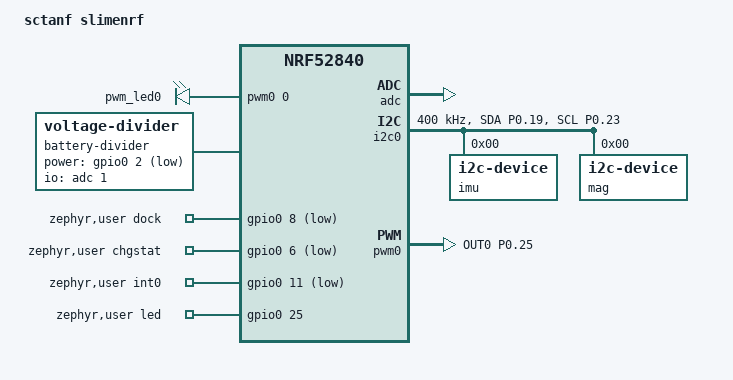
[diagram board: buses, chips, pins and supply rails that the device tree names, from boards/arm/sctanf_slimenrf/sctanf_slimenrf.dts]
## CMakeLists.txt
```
#
# Copyright (c) 2023 Nordic Semiconductor
#
# SPDX-License-Identifier: LicenseRef-Nordic-5-Clause
#
cmake_minimum_required(VERSION 3.20.0)

find_package(Zephyr REQUIRED HINTS $ENV{ZEPHYR_BASE})
project(NONE)

# NORDIC SDK APP START
FILE(GLOB_RECURSE app_sources src/*.c)
target_sources(app PRIVATE ${app_sources})

# NORDIC SDK APP END

FILE(GLOB_RECURSE files Fusion/Fusion/*.c)
target_sources(app PRIVATE ${files})

#FILE(GLOB_RECURSE files NXP-ISSDK-SensorFusion/sources/*.c)
#target_sources(app PRIVATE ${files})

FILE(GLOB_RECURSE files vqf-c/src/*.c)
target_sources(app PRIVATE ${files})

# Force recompile for updated build timestamp
add_custom_target(touch_util_h ALL
    COMMAND ${CMAKE_COMMAND} -E touch ${CMAKE_SOURCE_DIR}/src/build_defines.h
)
```

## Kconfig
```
#
# Copyright (c) 2023 Nordic Semiconductor
#
# SPDX-License-Identifier: LicenseRef-Nordic-5-Clause
#

source "Kconfig.zephyr"

menu "SlimeNRF"

config USE_SLIMENRF_CONSOLE
    bool "Use basic console"
    default y
    depends on USB_DEVICE_STACK
    help
        Use basic console for commands.

choice
	prompt "System retention"
	depends on SOC_COMPATIBLE_NRF52X && CRC || RETAINED_MEM
    help
      Select the system retention method.
      Flash-backed data and fusion state is stored to reduce boot time.

config APP_USE_NRF_RETENTION
	bool "Use state retention in system off using nRF POWER"
	depends on SOC_COMPATIBLE_NRF52X && CRC
	help
	  On some Nordic chips this application supports retaining
	  memory while in system off using POWER peripheral.
	  Select this to enable the feature.

config APP_USE_RETAINED_MEM
	bool "Use state retention in system off using retained_mem driver"
	depends on RETAINED_MEM

endchoice

choice
	prompt "Battery voltage mapping"
    default BATTERY_NO_MAPPING

config BATTERY_USE_REG_BUCK_MAPPING
    bool "Use buck regulator mapping (3.7V battery, DCDC)"
    help
      Use a constant power mapping for battery voltage.
      Preffered for systems with a buck regulator.
      Measured at a system voltage of 3.0V.

config BATTERY_USE_REG_LDO_MAPPING
    bool "Use LDO linear regulator mapping (3.7V battery, LDO)"
    help
      Use a constant current mapping for battery voltage.
      Preferred for systems with a linear regulator.

config BATTERY_NO_MAPPING
    bool "Disable battery voltage mapping"
    help
      Always map to 100% battery. Disables battery monitoring.

endchoice

config IGNORE_RESET
    bool "Ignore reset"
    default y
    help
        If sw0 is available, don't change any reset behavior.

config USER_SHUTDOWN
    bool "User shutdown support"
    default y
    help
        Allow user to use reset or sw0 to shutdown.

config USE_IMU_WAKE_UP
    bool "IMU wake up support"
    default y
    help
        Use IMU wake up state if IMU wake up is present.

config DELAY_SLEEP_ON_STATUS
    bool "Delay IMU wake up mode on status flags"
    default y
    depends on USE_IMU_WAKE_UP
    help
        Delay IMU wake up state if there is an active status flag or in pairing mode.

config WOM_USE_DCDC
    bool "Use DCDC in IMU wake up mode"
    depends on USE_IMU_WAKE_UP
    help
        Use DCDC instead of LDO in IMU wake up state if it is more efficient.

config SENSOR_GYRO_ODR
    int "Gyrometer output data rate (Hz)"
    default 800
    help
        Requested gyrometer output data rate. Actual rate will be raised to the nearest supported rate.
        A higher rate will increase the time to read and process sensor data.
        400Hz is recommended for IMUs with poor gyrometer rate noise density. (Ex. BMI270, LSM6DS3TR-C)

config SENSOR_GYRO_FS
    int "Gyrometer full scale (dps)"
    default 2000
    help
        Requested gyrometer full scale. Actual scale will be raised to the nearest supported scale.
        A lower scale may improve noise performance, but is more likely to saturate.

config SENSOR_ACCEL_FS
    int "Accelerometer full scale (g)"
    default 16
    help
        Requested accelerometer full scale. Actual scale will be raised to the nearest supported scale.
        A lower scale may improve noise performance, but is more likely to saturate.

config SENSOR_USE_MAG
    bool "Magnetometer support"
    default y
    help
        Use magnetometer if it is present.

config USE_SENSOR_CLOCK
    bool "Use external IMU clock"
    default y
    help
        Use external IMU clock if it is present.

choice
	prompt "Sensor fusion"
    default SENSOR_USE_VQF
    help
        Select the sensor fusion method.

config SENSOR_USE_XIOFUSION
    bool "Use x-io Technologies Fusion"
    help
        Use x-io Technologies Fusion for sensor fusion.
        Based on Madgwick filter.

config SENSOR_USE_VQF
    bool "Use VQF"
    depends on CPU_HAS_FPU
    help
        Use VQF for sensor fusion.
        Based on Kalman filter.

endchoice

config SENSOR_USE_6_SIDE_CALIBRATION
    bool "Use 6-side calibration"
    default y
    depends on USE_SLIMENRF_CONSOLE
    help
        Use 6-side calibration for accelerometer.
        Calibration can be completed through the basic console.

config RADIO_TX_POWER
    int "Radio output power (dBm)"
    default 8
    help
        Radio output power level.
        A lower value may reduce power consumption.

endmenu
```

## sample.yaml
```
tests:
  common:
    platform_allow:
      - nrf52840dk/nrf52840
      - xiao_ble/nrf52840
      - xiao_ble/nrf52840/sense
    sysbuild: true
```

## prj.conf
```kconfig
CONFIG_NCS_SAMPLES_DEFAULTS=y

CONFIG_ESB=y

CONFIG_ADC=y
CONFIG_ADC_NRFX_SAADC=y
CONFIG_FPU=y
CONFIG_I2C=y
CONFIG_PINCTRL=y

CONFIG_NVS=y

CONFIG_POWEROFF=y

CONFIG_FLASH=y
CONFIG_FLASH_PAGE_LAYOUT=y
CONFIG_FLASH_MAP=y

CONFIG_SETTINGS=y
CONFIG_SETTINGS_NVS=y
CONFIG_SETTINGS_RUNTIME=y

CONFIG_MPU_ALLOW_FLASH_WRITE=y

CONFIG_CONSOLE=y
CONFIG_USE_SEGGER_RTT=y
CONFIG_RTT_CONSOLE=y
CONFIG_LOG=y
CONFIG_LOG_MODE_DEFERRED=y
CONFIG_LOG_SPEED=y
#CONFIG_LOG_MODE_IMMEDIATE=y
CONFIG_LOG_BACKEND_RTT=y
CONFIG_CBPRINTF_FP_SUPPORT=y
CONFIG_ADC_LOG_LEVEL_OFF=y
CONFIG_LOG_FUNC_NAME_PREFIX_ERR=y
#CONFIG_LOG_BUFFER_SIZE=2048
# do not interfere with startup
#CONFIG_LOG_PROCESS_THREAD_STARTUP_DELAY_MS=100
CONFIG_LOG_PROCESS_THREAD_SLEEP_MS=100

CONFIG_PWM=y
CONFIG_GPIO=y

#CONFIG_CPLUSPLUS=y
#CONFIG_CPP_MAIN=y

CONFIG_CRC=y

CONFIG_NVS_LOOKUP_CACHE=y

CONFIG_NEWLIB_LIBC=y
CONFIG_NRFX_TIMER1=y

#speed up boot? (use internal rc oscillator)
#CONFIG_CLOCK_CONTROL_NRF_K32SRC_RC=y
#speed up boot? (synthesize lf clock)
CONFIG_CLOCK_CONTROL_NRF_K32SRC_SYNTH=y

# dont need it
CONFIG_CRYPTO=n

# set timeout for 10ms, may be able to reduce further
CONFIG_I2C_NRFX_TRANSFER_TIMEOUT=10

CONFIG_USB_DEVICE_HID=y
CONFIG_USB_DEVICE_MANUFACTURER="SlimeVR"
CONFIG_USB_DEVICE_VID=0x1209
CONFIG_USB_DEVICE_PID=0x7692
CONFIG_USB_HID_BOOT_PROTOCOL=y
CONFIG_USB_DEVICE_INITIALIZE_AT_BOOT=n
CONFIG_USB_CDC_ACM=y
CONFIG_UART_INTERRUPT_DRIVEN=y 

CONFIG_SERIAL=y
CONFIG_CONSOLE=y
CONFIG_UART_CONSOLE=y
CONFIG_UART_LINE_CTRL=y

CONFIG_LOG=y
CONFIG_USB_DRIVER_LOG_LEVEL_ERR=y
CONFIG_USB_DEVICE_LOG_LEVEL_ERR=y
CONFIG_USB_CDC_ACM_LOG_LEVEL_OFF=y

CONFIG_LOG_BACKEND_UART=y
CONFIG_LOG_MODE_DEFERRED=y
#CONFIG_LOG_MODE_IMMEDIATE=y

CONFIG_CONSOLE_SUBSYS=y
CONFIG_CONSOLE_GETLINE=y

CONFIG_NVS_LOG_LEVEL_WRN=y
CONFIG_USB_HID_LOG_LEVEL_ERR=y

CONFIG_SYSTEM_WORKQUEUE_STACK_SIZE=256
CONFIG_MAIN_STACK_SIZE=512
```

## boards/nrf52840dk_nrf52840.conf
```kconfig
CONFIG_USB_DEVICE_STACK=y
CONFIG_USB_DEVICE_MANUFACTURER="Nordic Semiconductor"
CONFIG_USB_DEVICE_PRODUCT="SlimeNRF Tracker nRF52840 DK"
```

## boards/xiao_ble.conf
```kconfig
CONFIG_USB_DEVICE_STACK=y
CONFIG_USB_DEVICE_PRODUCT="SlimeNRF Tracker Xiao"

CONFIG_BATTERY_USE_REG_LDO_MAPPING=y
```

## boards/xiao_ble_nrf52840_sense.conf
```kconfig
CONFIG_USB_DEVICE_STACK=y
CONFIG_USB_DEVICE_PRODUCT="SlimeNRF Tracker XIAO Sense"

CONFIG_BATTERY_USE_REG_LDO_MAPPING=y
```

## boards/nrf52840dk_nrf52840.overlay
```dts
/ {
	chosen {
		zephyr,console = &cdc_acm_uart0;
		zephyr,shell-uart = &cdc_acm_uart0;
	};

	battery-divider {
		compatible = "voltage-divider";
		status = "okay";
		io-channels = <&adc 12>; // Measure VDDHDIV5
		output-ohms = <1>;
		full-ohms = <2>;
	};
};

&i2c0 {
	compatible = "nordic,nrf-twim";
	zephyr,concat-buf-size = <255>; // probable max for nrf52832
	zephyr,flash-buf-max-size = <255>; // probable max for nrf52832
	clock-frequency = <I2C_BITRATE_FAST>;

	imu: imu@0 { // any address out of range (00, 7f, etc. will search all addresses and stored address first if available, specify an address here to search first otherwise
		compatible = "i2c-device";
		label = "imu";
		reg = <0>;
	};

	mag: mag@0 {
		compatible = "i2c-device";
		label = "mag";
		reg = <0>;
	};

};

zephyr_udc0: &usbd {
	cdc_acm_uart0: cdc_acm_uart0 {
		compatible = "zephyr,cdc-acm-uart";
	};
};
```

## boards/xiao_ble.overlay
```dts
/ {
	pwmleds {
		compatible = "pwm-leds";
		pwm_led0: pwm_led_0 {
			pwms = <&pwm0 0 PWM_MSEC(1) PWM_POLARITY_INVERTED>;
		};
	};

	// Uncomment below to Enable SW0
	buttons {
		compatible = "gpio-keys";
		button0: button_0 {
			gpios = <&gpio0 2 (GPIO_PULL_UP | GPIO_ACTIVE_LOW)>;
			label = "Push button switch 0";
		};
	};

	aliases {
		sw0 = &button0;
	};

	pwmclock: pwmclock {
		compatible = "pwm-clock";
		#clock-cells = <1>;
		pwms = <&pwm1 0 PWM_HZ(32768) PWM_POLARITY_NORMAL>;
	};

	battery-divider {
        compatible = "voltage-divider";
        status = "okay";
        io-channels = <&adc 7>;
        output-ohms = <510000>;
        full-ohms = <(1000000+510000)>;
        power-gpios = <&gpio0 14 (GPIO_OPEN_DRAIN|GPIO_ACTIVE_LOW)>;
	};
};

&i2c1 {
	compatible = "nordic,nrf-twim";
	zephyr,concat-buf-size = <255>; // probable max for nrf52832
	zephyr,flash-buf-max-size = <255>; // probable max for nrf52832
	clock-frequency = <I2C_BITRATE_FAST>;

	imu: imu@0 { // any address out of range (00, 7f, etc. will search all addresses and stored address first if available, specify an address here to search first otherwise
		compatible = "i2c-device";
		label = "imu";
		reg = <0>;
	};

	mag: mag@0 {
		compatible = "i2c-device";
		label = "mag";
		reg = <0>;
	};

};

&pwm1 {
	status = "okay";
	pinctrl-0 = <&pwm1_default>;
	pinctrl-1 = <&pwm1_sleep>;
	pinctrl-names = "default", "sleep";
};

&cryptocell {
	status = "disabled";
};

&nfct {
	status = "disabled";
};
```

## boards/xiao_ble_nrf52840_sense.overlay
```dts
/ {
	pwmleds {
		compatible = "pwm-leds";
		pwm_led0: pwm_led_0 {
			pwms = <&pwm0 0 PWM_MSEC(1) PWM_POLARITY_INVERTED>;
		};
	};

	lsm6ds3tr-c-en {
		startup-delay-us = <0>;
	};

	// Uncomment below to Enable SW0
	buttons {
		compatible = "gpio-keys";
		button0: button_0 {
			gpios = <&gpio0 2 (GPIO_PULL_UP | GPIO_ACTIVE_LOW)>;
			label = "Push button switch 0";
		};
	};

	aliases {
		sw0 = &button0;
	};

	battery-divider {
        compatible = "voltage-divider";
        status = "okay";
        io-channels = <&adc 7>;
        output-ohms = <510000>;
        full-ohms = <(1000000+510000)>;
        power-gpios = <&gpio0 14 (GPIO_OPEN_DRAIN|GPIO_ACTIVE_LOW)>;
	};

	zephyr,user {
		int0-gpios = <&gpio0 11 (GPIO_ACTIVE_LOW | GPIO_PULL_UP)>;
		led-gpios = <&gpio0 17 (GPIO_OPEN_DRAIN|GPIO_ACTIVE_LOW)>;
	};

};

&i2c0 {
	compatible = "nordic,nrf-twim";
	zephyr,concat-buf-size = <255>; // probable max for nrf52832
	zephyr,flash-buf-max-size = <255>; // probable max for nrf52832
	clock-frequency = <I2C_BITRATE_FAST>;

	imu: imu@0 { // any address out of range (00, 7f, etc. will search all addresses and stored address first if available, specify an address here to search first otherwise
		compatible = "i2c-device";
		label = "imu";
		reg = <0>;
	};

};

&cryptocell {
	status = "disabled";
};

&nfct {
	status = "disabled";
};
```

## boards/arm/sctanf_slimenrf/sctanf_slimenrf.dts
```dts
// Copyright (c) 2023 Nordic Semiconductor ASA
// SPDX-License-Identifier: Apache-2.0

/dts-v1/;
#include <nordic/nrf52840_qiaa.dtsi>

//move to dtsi?
&pinctrl {
	i2c0_default: i2c0_default {
		group1 {
			psels = <NRF_PSEL(TWIM_SDA, 0, 19)>,
				<NRF_PSEL(TWIM_SCL, 0, 23)>;
			bias-disable;
		};
	};

	i2c0_sleep: i2c0_sleep {
		group1 {
			psels = <NRF_PSEL(TWIM_SDA, 0, 19)>,
				<NRF_PSEL(TWIM_SCL, 0, 23)>;
			bias-disable;
			low-power-enable;
		};
	};

	pwm0_default: pwm0_default {
		group1 {
			psels = <NRF_PSEL(PWM_OUT0, 0, 25)>;
		};
	};

	pwm0_sleep: pwm0_sleep {
		group1 {
			psels = <NRF_PSEL(PWM_OUT0, 0, 25)>;
			low-power-enable;
		};
	};

};
//end

/ {
	model = "sctanf slimenrf";
	compatible = "sctanf,sctanf-slimenrf";

	chosen {
		zephyr,sram = &sram0;
		zephyr,flash = &flash0;
		zephyr,code-partition = &slot0_partition;
	};

	pwmleds {
		compatible = "pwm-leds";
		pwm_led0: pwm_led_0 {
			pwms = <&pwm0 0 PWM_MSEC(20) PWM_POLARITY_NORMAL>;
		};
	};

	battery-divider {
		compatible = "voltage-divider";
		status = "okay";
		io-channels = <&adc 1>;
		output-ohms = <510000>;
		full-ohms = <(1000000+510000)>;
		power-gpios = <&gpio0 2 (GPIO_OPEN_DRAIN|GPIO_ACTIVE_LOW)>;
	};

	zephyr,user {
		dock-gpios = <&gpio0 8 (GPIO_PULL_UP|GPIO_ACTIVE_LOW)>;
		chgstat-gpios = <&gpio0 6 (GPIO_PULL_UP|GPIO_ACTIVE_LOW)>;
		int0-gpios = <&gpio0 11 (GPIO_PULL_UP|GPIO_ACTIVE_LOW)>;
		led-gpios = <&gpio0 25 (GPIO_OPEN_SOURCE | (1 << 9))>;
	};

};

&flash0 {
	partitions {
		compatible = "fixed-partitions";
		#address-cells = <1>;
		#size-cells = <1>;

		boot_partition: partition@0 {
			label = "mcuboot";
			reg = <0x0 0xc000>;
		};
		slot0_partition: partition@c000 {
			label = "image-0";
			reg = <0xc000 0x72000>;
		};
		slot1_partition: partition@7e000 {
			label = "image-1";
			reg = <0x7e000 0x72000>;
		};
		scratch_partition: partition@f0000 {
			label = "image-scratch";
			reg = <0xf0000 0xa000>;
		};
		storage_partition: partition@fa000 {
			label = "storage";
			reg = <0xfa000 0x6000>;
		};
	};
};

&adc {
	status = "okay";
};

&gpiote {
	status = "okay";
};

&gpio0 {
	status = "okay";
};

&gpio1 {
	status = "okay";
};

&i2c0 {
	compatible = "nordic,nrf-twim";
	status = "okay";
	zephyr,concat-buf-size = <255>; // probable max for nrf52832
	zephyr,flash-buf-max-size = <255>; // probable max for nrf52832
	clock-frequency = <I2C_BITRATE_FAST>;
	pinctrl-0 = <&i2c0_default>;
	pinctrl-1 = <&i2c0_sleep>;
	pinctrl-names = "default", "sleep";

	imu: imu@0 { // any address out of range (00, 7f, etc. will search all addresses and stored address first if available, specify an address here to search first otherwise
		compatible = "i2c-device";
		label = "imu";
		reg = <0>;
	};

	mag: mag@0 {
		compatible = "i2c-device";
		label = "mag";
		reg = <0>;
	};

};

&pwm0 {
	status = "okay";
	pinctrl-0 = <&pwm0_default>;
	pinctrl-1 = <&pwm0_sleep>;
	pinctrl-names = "default", "sleep";
};

zephyr_udc0: &usbd {
	compatible = "nordic,nrf-usbd";
	status = "disabled";
	cdc_acm_uart0: cdc_acm_uart0 {
		compatible = "zephyr,cdc-acm-uart";
	};
};

&cryptocell {
	status = "disabled";
};

&nfct {
	status = "disabled";
};
```

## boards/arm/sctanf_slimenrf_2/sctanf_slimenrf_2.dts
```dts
// Copyright (c) 2023 Nordic Semiconductor ASA
// SPDX-License-Identifier: Apache-2.0

/dts-v1/;
#include <nordic/nrf52832_ciaa.dtsi>

//move to dtsi?
&pinctrl {
	i2c0_default: i2c0_default {
		group1 {
			psels = <NRF_PSEL(TWIM_SDA, 0, 19)>,
				<NRF_PSEL(TWIM_SCL, 0, 23)>;
			bias-disable;
		};
	};

	i2c0_sleep: i2c0_sleep {
		group1 {
			psels = <NRF_PSEL(TWIM_SDA, 0, 19)>,
				<NRF_PSEL(TWIM_SCL, 0, 23)>;
			bias-disable;
			low-power-enable;
		};
	};

	pwm0_default: pwm0_default {
		group1 {
			psels = <NRF_PSEL(PWM_OUT0, 0, 25)>;
			nordic,invert;
		};
	};

	pwm0_sleep: pwm0_sleep {
		group1 {
			psels = <NRF_PSEL(PWM_OUT0, 0, 25)>;
			low-power-enable;
		};
	};

};
//end

/ {
	model = "sctanf slimenrf 2";
	compatible = "sctanf-slimenrf-2";

	chosen {
		zephyr,sram = &sram0;
		zephyr,flash = &flash0;
		zephyr,code-partition = &slot0_partition;
	};

	pwmleds {
		compatible = "pwm-leds";
		pwm_led0: pwm_led_0 {
			pwms = <&pwm0 0 PWM_MSEC(20) PWM_POLARITY_INVERTED>;
		};
	};

	battery-divider {
		compatible = "voltage-divider";
		status = "okay";
		io-channels = <&adc 1>;
		output-ohms = <510000>;
		full-ohms = <(1000000+510000)>;
		power-gpios = <&gpio0 2 (GPIO_OPEN_DRAIN|GPIO_ACTIVE_LOW)>;
	};

	zephyr,user {
		dock-gpios = <&gpio0 8 (GPIO_PULL_UP|GPIO_ACTIVE_LOW)>;
		chgstat-gpios = <&gpio0 6 (GPIO_PULL_UP|GPIO_ACTIVE_LOW)>;
		int0-gpios = <&gpio0 11 (GPIO_PULL_UP|GPIO_ACTIVE_LOW)>;
		led-gpios = <&gpio0 25 (GPIO_OPEN_DRAIN|GPIO_ACTIVE_LOW)>;
	};

};

&flash0 {
	partitions {
		compatible = "fixed-partitions";
		#address-cells = <1>;
		#size-cells = <1>;

		boot_partition: partition@0 {
			label = "mcuboot";
			reg = <0x0 0xc000>;
		};
		slot0_partition: partition@c000 {
			label = "image-0";
			reg = <0xc000 0x32000>;
		};
		slot1_partition: partition@3e000 {
			label = "image-1";
			reg = <0x3e000 0x32000>;
		};
		scratch_partition: partition@70000 {
			label = "image-scratch";
			reg = <0x70000 0xa000>;
		};
		storage_partition: partition@7a000 {
			label = "storage";
			reg = <0x7a000 0x6000>;
		};
	};
};

&adc {
	status = "okay";
};

&gpiote {
	status = "okay";
};

&gpio0 {
	status = "okay";
};

&i2c0 {
	compatible = "nordic,nrf-twim";
	status = "okay";
	zephyr,concat-buf-size = <255>; // probable max for nrf52832
	zephyr,flash-buf-max-size = <255>; // probable max for nrf52832
	clock-frequency = <I2C_BITRATE_FAST>;
	pinctrl-0 = <&i2c0_default>;
	pinctrl-1 = <&i2c0_sleep>;
	pinctrl-names = "default", "sleep";

	imu: imu@0 { // any address out of range (00, 7f, etc. will search all addresses and stored address first if available, specify an address here to search first otherwise
		compatible = "i2c-device";
		label = "imu";
		reg = <0>;
	};

	mag: mag@0 {
		compatible = "i2c-device";
		label = "mag";
		reg = <0>;
	};

};

&pwm0 {
	status = "okay";
	pinctrl-0 = <&pwm0_default>;
	pinctrl-1 = <&pwm0_sleep>;
	pinctrl-names = "default", "sleep";
};

&nfct {
	status = "disabled";
};
```

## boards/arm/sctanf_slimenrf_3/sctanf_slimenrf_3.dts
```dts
// Copyright (c) 2023 Nordic Semiconductor ASA
// SPDX-License-Identifier: Apache-2.0

/dts-v1/;
#include <nordic/nrf52811_qfaa.dtsi>

//move to dtsi?
&pinctrl {
	i2c0_default: i2c0_default {
		group1 {
			psels = <NRF_PSEL(TWIM_SDA, 0, 19)>,
				<NRF_PSEL(TWIM_SCL, 0, 23)>;
		};
	};

	i2c0_sleep: i2c0_sleep {
		group1 {
			psels = <NRF_PSEL(TWIM_SDA, 0, 19)>,
				<NRF_PSEL(TWIM_SCL, 0, 23)>;
			low-power-enable;
		};
	};

//	pwm0_default: pwm0_default {
//		group1 {
//			psels = <NRF_PSEL(PWM_OUT0, 0, 25)>;
//			nordic,invert;
//		};
//	};
//
//	pwm0_sleep: pwm0_sleep {
//		group1 {
//			psels = <NRF_PSEL(PWM_OUT0, 0, 25)>;
//			low-power-enable;
//		};
//	};

};
//end

/ {
	model = "sctanf slimenrf 3";
	compatible = "sctanf-slimenrf-3";

	chosen {
		zephyr,sram = &sram0;
		zephyr,flash = &flash0;
		zephyr,code-partition = &slot0_partition;
	};

//	pwmleds {
//		compatible = "pwm-leds";
//		pwm_led0: pwm_led_0 {
//			pwms = <&pwm0 0 PWM_MSEC(20) PWM_POLARITY_NORMAL>;
//		};
//	};

	battery-divider {
		compatible = "voltage-divider";
		status = "okay";
		io-channels = <&adc 1>;
		output-ohms = <510000>;
		full-ohms = <(1000000+510000)>;
		power-gpios = <&gpio0 2 (GPIO_OPEN_DRAIN|GPIO_ACTIVE_LOW)>;
	};

	zephyr,user {
		dock-gpios = <&gpio0 8 (GPIO_PULL_UP|GPIO_ACTIVE_LOW)>;
		chgstat-gpios = <&gpio0 6 (GPIO_PULL_UP|GPIO_ACTIVE_LOW)>;
		int0-gpios = <&gpio0 11 (GPIO_PULL_UP|GPIO_ACTIVE_LOW)>;
		int1-gpios = <&gpio0 26 (GPIO_PULL_UP|GPIO_ACTIVE_LOW)>;
		led-gpios = <&gpio0 25 (GPIO_OPEN_SOURCE|GPIO_ACTIVE_HIGH)>;
	};

};

&flash0 {
	partitions {
		compatible = "fixed-partitions";
		#address-cells = <1>;
		#size-cells = <1>;

		boot_partition: partition@0 {
			label = "mcuboot";
			reg = <0x0 0xc000>;
		};
		slot0_partition: partition@c000 {
			label = "image-0";
			reg = <0xc000 0xa000>;
		};
		slot1_partition: partition@16000 {
			label = "image-1";
			reg = <0x16000 0xa000>;
		};
		scratch_partition: partition@20000 {
			label = "image-scratch";
			reg = <0x20000 0xa000>;
		};
		storage_partition: partition@2a000 {
			label = "storage";
			reg = <0x2a000 0x6000>;
		};
	};
};

&adc {
	status = "okay";
};

&gpiote {
	status = "okay";
};

&gpio0 {
	status = "okay";
};

&i2c0 {
	compatible = "nordic,nrf-twim";
	status = "okay";
	clock-frequency = <I2C_BITRATE_FAST>;
	pinctrl-0 = <&i2c0_default>;
	pinctrl-1 = <&i2c0_sleep>;
	pinctrl-names = "default", "sleep";

	icm_0: icm42688@68 {
		compatible = "i2c-device";
		label = "main-imu";
		reg = <0x68>;
	};

	mmc_0: mmc5983ma@30 {
		compatible = "i2c-device";
		label = "main-mag";
		reg = <0x30>;
	};

};

//&pwm0 {
//	status = "okay";
//	pinctrl-0 = <&pwm0_default>;
//	pinctrl-1 = <&pwm0_sleep>;
//	pinctrl-names = "default", "sleep";
//};
```

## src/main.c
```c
#include "globals.h"
#include "system.h"
//#include "timer.h"
#include "esb.h"
#include "sensor.h"

#include <zephyr/sys/reboot.h>

#define DFU_DBL_RESET_MEM 0x20007F7C
#define DFU_DBL_RESET_APP 0x4ee5677e

uint32_t* dbl_reset_mem = ((uint32_t*) DFU_DBL_RESET_MEM);

LOG_MODULE_REGISTER(main, LOG_LEVEL_INF);

#if DT_NODE_HAS_PROP(DT_ALIAS(sw0), gpios)
#define BUTTON_EXISTS true
#endif

#define DFU_EXISTS CONFIG_BUILD_OUTPUT_UF2 || CONFIG_BOARD_HAS_NRF5_BOOTLOADER
#define ADAFRUIT_BOOTLOADER CONFIG_BUILD_OUTPUT_UF2

int main(void)
{
#if IGNORE_RESET && BUTTON_EXISTS
	bool reset_pin_reset = false;
#else
	bool reset_pin_reset = NRF_POWER->RESETREAS & 0x01;
#endif
	NRF_POWER->RESETREAS = NRF_POWER->RESETREAS; // Clear RESETREAS

//	start_time = k_uptime_get(); // Need to get start time for imu startup delay
	set_led(SYS_LED_PATTERN_ON, SYS_LED_PRIORITY_BOOT); // Boot LED

#if ADAFRUIT_BOOTLOADER && !(IGNORE_RESET && BUTTON_EXISTS) // Using Adafruit bootloader
	(*dbl_reset_mem) = DFU_DBL_RESET_APP; // Skip DFU
	ram_range_retain(dbl_reset_mem, sizeof(dbl_reset_mem), true);
#endif

	uint8_t reboot_counter = reboot_counter_read();
	bool booting_from_shutdown = !reboot_counter && (reset_pin_reset || button_read()); // 0 means from user shutdown or failed ram validation

	if (booting_from_shutdown)
		set_led(SYS_LED_PATTERN_ONESHOT_POWERON, SYS_LED_PRIORITY_BOOT);

	bool docked = dock_read();

	uint8_t reset_mode = -1;

	if (reboot_counter == 0)
		reboot_counter = 100;
	else if (reboot_counter > 200)
		reboot_counter = 200; // How did you get here
	reset_mode = reboot_counter - 100;
	if ((reset_pin_reset || button_read()) && !docked) // Count pin resets while not docked
	{
		reboot_counter++;
		reboot_counter_write(reboot_counter);
		LOG_INF("Reset count: %u", reboot_counter);
		k_msleep(1000); // Wait before clearing counter and continuing
	}
	reboot_counter_write(100);
	if (!reset_pin_reset && !button_read() && reset_mode == 0) // Only need to check once, if the button is pressed again an interrupt is triggered from before
		reset_mode = -1; // Cancel reset_mode (shutdown)

#if USER_SHUTDOWN_ENABLED
	bool charging = chg_read();
	bool charged = stby_read();
	bool plugged = vin_read();

	if (reset_mode == 0 && !booting_from_shutdown && !charging && !charged && !plugged) // Reset mode user shutdown, only if unplugged and undocked
		sys_user_shutdown();
#endif

	if (!booting_from_shutdown) // ONESHOT_POWERON automatically sets LED off
		set_led(SYS_LED_PATTERN_OFF, SYS_LED_PRIORITY_BOOT);

	sys_reset_mode(reset_mode);

	k_msleep(1); // TODO: fixes some weird issue with the device bootlooping, what is the cause

	clocks_start();

	esb_pair();

	esb_initialize(true);
	//timer_init();
// 1ms to start ESB

	return 0;
}
```

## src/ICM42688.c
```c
/* 01/14/2022 Copyright Tlera Corporation

    Created by Kris Winer

  This sketch uses SDA/SCL on pins 21/20 (Ladybug default), respectively, and it uses the Ladybug STM32L432 Breakout Board.
  The ICM42688 is a combo sensor with embedded accel and gyro, here used as 6 DoF in a 9 DoF absolute orientation solution.

  Library may be used freely and without limit with attribution.

*/
#include <math.h>
#include <stdio.h>
#include <stdlib.h>

#include <zephyr/types.h>
#include <zephyr/drivers/i2c.h>
#include "ICM42688.h"

float _gRes;

uint8_t icm_getChipID(struct i2c_dt_spec dev_i2c)
{
    uint8_t temp;
    i2c_reg_read_byte_dt(&dev_i2c, ICM42688_WHO_AM_I, &temp);
    return temp;
}

float icm_getAres(uint8_t Ascale) {
    switch (Ascale)
    {
        // Possible accelerometer scales (and their register bit settings) are:
        case AFS_2G:
            return 2.0f/32768.0f;
        case AFS_4G:
            return 4.0f/32768.0f;
        case AFS_8G:
            return 8.0f/32768.0f;
        case AFS_16G:
        default:// I assume this is a safe default given the comment
            return 16.0f/32768.0f;
    }
}

float icm_getGres(uint8_t Gscale) {
    switch (Gscale)
    {
        // Possible gyro scales (and their register bit settings) are:
        case GFS_15_625DPS:
            return 15.625f/32768.0f;
        case GFS_31_25DPS:
            return 31.25f/32768.0f;
        case GFS_62_50DPS:
            return 62.5f/32768.0f;
        case GFS_125DPS:
            return 125.0f/32768.0f;
        case GFS_250DPS:
            return 250.0f/32768.0f;
        case GFS_500DPS:
            return 500.0f/32768.0f;
        case GFS_1000DPS:
            return 1000.0f/32768.0f;
        case GFS_2000DPS:
        default: // I assume this is a safe default given the comment
            return 2000.0f/32768.0f;
    }
}

void icm_reset(struct i2c_dt_spec dev_i2c)
{
    // reset device
    i2c_reg_write_byte_dt(&dev_i2c, ICM42688_DEVICE_CONFIG, 0x01); // Set bit 0 to 1 to reset ICM42688
    k_msleep(2); // Wait 1 ms for all registers to reset
}

void icm_setup_WOM(struct i2c_dt_spec dev_i2c)
{
    uint8_t temp;
    i2c_reg_read_byte_dt(&dev_i2c, ICM42688_INT_STATUS, &temp); // clear reset done int flag
	i2c_reg_write_byte_dt(&dev_i2c, ICM42688_INT_SOURCE0, 0x00); // temporary disable interrupts
	i2c_reg_write_byte_dt(&dev_i2c, ICM42688_ACCEL_CONFIG0, AFS_8G << 5 | AODR_200Hz); // set accel ODR and FS
	i2c_reg_write_byte_dt(&dev_i2c, ICM42688_PWR_MGMT0, aMode_LP); // set accel and gyro modes
	i2c_reg_write_byte_dt(&dev_i2c, ICM42688_INTF_CONFIG1, 0x00); // set low power clock
	k_busy_wait(1000);
	i2c_reg_write_byte_dt(&dev_i2c, ICM42688_REG_BANK_SEL, 0x04); // select register bank 4
	i2c_reg_write_byte_dt(&dev_i2c, ICM42688_ACCEL_WOM_X_THR, 0x08); // set wake thresholds // 80 x 3.9 mg is ~312 mg
	i2c_reg_write_byte_dt(&dev_i2c, ICM42688_ACCEL_WOM_Y_THR, 0x08); // set wake thresholds
	i2c_reg_write_byte_dt(&dev_i2c, ICM42688_ACCEL_WOM_Z_THR, 0x08); // set wake thresholds
	k_busy_wait(1000);
	i2c_reg_write_byte_dt(&dev_i2c, ICM42688_REG_BANK_SEL, 0x00); // select register bank 0
	i2c_reg_write_byte_dt(&dev_i2c, ICM42688_INT_SOURCE1, 0x07); // enable WOM interrupt
	k_busy_wait(50000);
	i2c_reg_write_byte_dt(&dev_i2c, ICM42688_SMD_CONFIG, 0x01); // enable WOM feature
}

// make i2c stuff external? (portability)
// make busy wait and msleep external? (portability)
void icm_init(struct i2c_dt_spec dev_i2c, uint8_t Ascale, uint8_t Gscale, uint8_t AODR, uint8_t GODR, uint8_t aMode, uint8_t gMode, bool CLKIN)
{
    icm_getAres(Ascale);
    icm_getGres(Gscale);
    i2c_reg_write_byte_dt(&dev_i2c, ICM42688_INT_SOURCE0, 0x00); // temporary disable interrupts
    i2c_reg_write_byte_dt(&dev_i2c, ICM42688_REG_BANK_SEL, 0x00); // select register bank 0
    i2c_reg_write_byte_dt(&dev_i2c, ICM42688_PWR_MGMT0, gMode << 2 | aMode); // set accel and gyro modes
    k_busy_wait(250); // wait >200us (datasheet 14.36)
    i2c_reg_write_byte_dt(&dev_i2c, ICM42688_ACCEL_CONFIG0, Ascale << 5 | AODR); // set accel ODR and FS
    i2c_reg_write_byte_dt(&dev_i2c, ICM42688_GYRO_CONFIG0, Gscale << 5 | GODR); // set gyro ODR and FS
    i2c_reg_write_byte_dt(&dev_i2c, ICM42688_GYRO_ACCEL_CONFIG0, 0x44); // set gyro and accel bandwidth to ODR/10
//    k_msleep(50); // 10ms Accel, 30ms Gyro startup
    k_msleep(1); // fuck i dont wanna wait that long
    i2c_reg_write_byte_dt(&dev_i2c, ICM42688_FIFO_CONFIG, 0x00); // FIFO bypass mode
    i2c_reg_write_byte_dt(&dev_i2c, ICM42688_FSYNC_CONFIG, 0x00); // disable FSYNC
    i2c_reg_update_byte_dt(&dev_i2c, ICM42688_TMST_CONFIG, 0x02, 0x00); // disable FSYNC
    i2c_reg_write_byte_dt(&dev_i2c, ICM42688_FIFO_CONFIG1, 0x02); // enable FIFO gyro only
    i2c_reg_write_byte_dt(&dev_i2c, ICM42688_FIFO_CONFIG, 1<<6); // begin FIFO stream
}

void icm_accel_read(struct i2c_dt_spec dev_i2c, float a[3]) {
    uint8_t rawAccel[6];
    i2c_burst_read_dt(&dev_i2c, ICM42688_ACCEL_DATA_X1, &rawAccel[0], 6);
	float raw0 = (int16_t)((((int16_t)rawAccel[0]) << 8) | rawAccel[1]);
	float raw1 = (int16_t)((((int16_t)rawAccel[2]) << 8) | rawAccel[3]);
	float raw2 = (int16_t)((((int16_t)rawAccel[4]) << 8) | rawAccel[5]);
	a[0] = raw0 * _aRes;
	a[1] = raw1 * _aRes;
	a[2] = raw2 * _aRes;
}

void icm_gyro_read(struct i2c_dt_spec dev_i2c, float g[3]) {
    uint8_t rawGyro[6];
    i2c_burst_read_dt(&dev_i2c, ICM42688_GYRO_DATA_X1, &rawGyro[0], 6);
	float raw0 = (int16_t)((((int16_t)rawGyro[0]) << 8) | rawGyro[1]);
	float raw1 = (int16_t)((((int16_t)rawGyro[2]) << 8) | rawGyro[3]);
	float raw2 = (int16_t)((((int16_t)rawGyro[4]) << 8) | rawGyro[5]);
	g[0] = raw0 * _gRes;
	g[1] = raw1 * _gRes;
	g[2] = raw2 * _gRes;
}

// need to make this external
void icm_offsetBias(struct i2c_dt_spec dev_i2c, float * dest1, float * dest2)
{
    float rawData[3];
    for (int ii = 0; ii < 500; ii++)
    {
        icm_accel_read(dev_i2c, &rawData[0]);
        dest1[0] += rawData[0];
        dest1[1] += rawData[1];
        dest1[2] += rawData[2];
        icm_gyro_read(dev_i2c, &rawData[0]);
        dest2[0] += rawData[0];
        dest2[1] += rawData[1];
        dest2[2] += rawData[2];
        k_msleep(5);
    }

    dest1[0] /= 500.0f;
    dest1[1] /= 500.0f;
    dest1[2] /= 500.0f;
    dest2[0] /= 500.0f;
    dest2[1] /= 500.0f;
    dest2[2] /= 500.0f;
// need better accel calibration
    if(dest1[0] > 0.8f) {dest1[0] -= 1.0f;} // Remove gravity from the x-axis accelerometer bias calculation
    if(dest1[0] < -0.8f) {dest1[0] += 1.0f;} // Remove gravity from the x-axis accelerometer bias calculation
    if(dest1[1] > 0.8f) {dest1[1] -= 1.0f;} // Remove gravity from the y-axis accelerometer bias calculation
    if(dest1[1] < -0.8f) {dest1[1] += 1.0f;} // Remove gravity from the y-axis accelerometer bias calculation
    if(dest1[2] > 0.8f) {dest1[2] -= 1.0f;} // Remove gravity from the z-axis accelerometer bias calculation
    if(dest1[2] < -0.8f) {dest1[2] += 1.0f;} // Remove gravity from the z-axis accelerometer bias calculation
}
```

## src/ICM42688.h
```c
/* 01/14/2022 Copyright Tlera Corporation

    Created by Kris Winer

  This sketch uses SDA/SCL on pins 21/20 (ladybug default), respectively, and it uses the Ladybug STM32L432 Breakout Board.
  The ICM42688 is a combo sensor with embedded accel and gyro, here used as 6 DoF in a 9 DoF absolute orientation solution.

  Library may be used freely and without limit with attribution.

*/

#ifndef ICM42688_h
#define ICM42688_h

#include <zephyr/types.h>
#include <zephyr/drivers/i2c.h>

/* ICM42688 registers
https://media.digikey.com/pdf/Data%20Sheets/TDK%20PDFs/ICM-42688-P_DS_Rev1.2.pdf
*/
// User Bank 0
#define ICM42688_DEVICE_CONFIG             0x11
#define ICM42688_DRIVE_CONFIG              0x13
#define ICM42688_INT_CONFIG                0x14
#define ICM42688_FIFO_CONFIG               0x16
#define ICM42688_TEMP_DATA1                0x1D
#define ICM42688_TEMP_DATA0                0x1E
#define ICM42688_ACCEL_DATA_X1             0x1F
#define ICM42688_ACCEL_DATA_X0             0x20
#define ICM42688_ACCEL_DATA_Y1             0x21
#define ICM42688_ACCEL_DATA_Y0             0x22
#define ICM42688_ACCEL_DATA_Z1             0x23
#define ICM42688_ACCEL_DATA_Z0             0x24
#define ICM42688_GYRO_DATA_X1              0x25
#define ICM42688_GYRO_DATA_X0              0x26
#define ICM42688_GYRO_DATA_Y1              0x27
#define ICM42688_GYRO_DATA_Y0              0x28
#define ICM42688_GYRO_DATA_Z1              0x29
#define ICM42688_GYRO_DATA_Z0              0x2A
#define ICM42688_TMST_FSYNCH               0x2B
#define ICM42688_TMST_FSYNCL               0x2C
#define ICM42688_INT_STATUS                0x2D
#define ICM42688_FIFO_COUNTH               0x2E
#define ICM42688_FIFO_COUNTL               0x2F
#define ICM42688_FIFO_DATA                 0x30
#define ICM42688_APEX_DATA0                0x31
#define ICM42688_APEX_DATA1                0x32
#define ICM42688_APEX_DATA2                0x33
#define ICM42688_APEX_DATA3                0x34
#define ICM42688_APEX_DATA4                0x35
#define ICM42688_APEX_DATA5                0x36
#define ICM42688_INT_STATUS2               0x37
#define ICM42688_INT_STATUS3               0x38
#define ICM42688_SIGNAL_PATH_RESET         0x4B
#define ICM42688_INTF_CONFIG0              0x4C
#define ICM42688_INTF_CONFIG1              0x4D
#define ICM42688_PWR_MGMT0                 0x4E
#define ICM42688_GYRO_CONFIG0              0x4F
#define ICM42688_ACCEL_CONFIG0             0x50
#define ICM42688_GYRO_CONFIG1              0x51
#define ICM42688_GYRO_ACCEL_CONFIG0        0x52
#define ICM42688_ACCEL_CONFIG1             0x53
#define ICM42688_TMST_CONFIG               0x54
#define ICM42688_APEX_CONFIG0              0x56
#define ICM42688_SMD_CONFIG                0x57
#define ICM42688_FIFO_CONFIG1              0x5F
#define ICM42688_FIFO_CONFIG2              0x60
#define ICM42688_FIFO_CONFIG3              0x61
#define ICM42688_FSYNC_CONFIG              0x62
#define ICM42688_INT_CONFIG0               0x63
#define ICM42688_INT_CONFIG1               0x64
#define ICM42688_INT_SOURCE0               0x65
#define ICM42688_INT_SOURCE1               0x66
#define ICM42688_INT_SOURCE3               0x68
#define ICM42688_INT_SOURCE4               0x69
#define ICM42688_FIFO_LOST_PKT0            0x6C
#define ICM42688_FIFO_LOST_PKT1            0x6D
#define ICM42688_SELF_TEST_CONFIG          0x70
#define ICM42688_WHO_AM_I                  0x75 // should return 0x47
#define ICM42688_REG_BANK_SEL              0x76

// User Bank 1
#define ICM42688_SENSOR_CONFIG0            0x03
#define ICM42688_GYRO_CONFIG_STATIC2       0x0B
#define ICM42688_GYRO_CONFIG_STATIC3       0x0C
#define ICM42688_GYRO_CONFIG_STATIC4       0x0D
#define ICM42688_GYRO_CONFIG_STATIC5       0x0E
#define ICM42688_GYRO_CONFIG_STATIC6       0x0F
#define ICM42688_GYRO_CONFIG_STATIC7       0x10
#define ICM42688_GYRO_CONFIG_STATIC8       0x11
#define ICM42688_GYRO_CONFIG_STATIC9       0x12
#define ICM42688_GYRO_CONFIG_STATIC10      0x13
#define ICM42688_XG_ST_DATA                0x5F
#define ICM42688_YG_ST_DATA                0x60
#define ICM42688_ZG_ST_DATA                0x61
#define ICM42688_TMSTAL0                   0x63
#define ICM42688_TMSTAL1                   0x64
#define ICM42688_TMSTAL2                   0x62
#define ICM42688_INTF_CONFIG4              0x7A
#define ICM42688_INTF_CONFIG5              0x7B
#define ICM42688_INTF_CONFIG6              0x7C

// User Bank 2
#define ICM42688_ACCEL_CONFIG_STATIC2      0x03
#define ICM42688_ACCEL_CONFIG_STATIC3      0x04
#define ICM42688_ACCEL_CONFIG_STATIC4      0x05
#define ICM42688_XA_ST_DATA                0x3B
#define ICM42688_YA_ST_DATA                0x3C
#define ICM42688_ZA_ST_DATA                0x3D

// User Bank 4
#define ICM42688_APEX_CONFIG1              0x40
#define ICM42688_APEX_CONFIG2              0x41
#define ICM42688_APEX_CONFIG3              0x42
#define ICM42688_APEX_CONFIG4              0x43
#define ICM42688_APEX_CONFIG5              0x44
#define ICM42688_APEX_CONFIG6              0x45
#define ICM42688_APEX_CONFIG7              0x46
#define ICM42688_APEX_CONFIG8              0x47
#define ICM42688_APEX_CONFIG9              0x48
#define ICM42688_ACCEL_WOM_X_THR           0x4A
#define ICM42688_ACCEL_WOM_Y_THR           0x4B
#define ICM42688_ACCEL_WOM_Z_THR           0x4C
#define ICM42688_INT_SOURCE6               0x4D
#define ICM42688_INT_SOURCE7               0x4E
#define ICM42688_INT_SOURCE8               0x4F
#define ICM42688_INT_SOURCE9               0x50
#define ICM42688_INT_SOURCE10              0x51
#define ICM42688_OFFSET_USER0              0x77
#define ICM42688_OFFSET_USER1              0x78
#define ICM42688_OFFSET_USER2              0x79
#define ICM42688_OFFSET_USER3              0x7A
#define ICM42688_OFFSET_USER4              0x7B
#define ICM42688_OFFSET_USER5              0x7C
#define ICM42688_OFFSET_USER6              0x7D
#define ICM42688_OFFSET_USER7              0x7E
#define ICM42688_OFFSET_USER8              0x7F

#define ICM42688_ADDRESS           0x68   // Address of ICM42688 accel/gyro when ADO = 0

#define AFS_2G  0x03
#define AFS_4G  0x02
#define AFS_8G  0x01
#define AFS_16G 0x00 // default

#define GFS_2000DPS   0x00   // default
#define GFS_1000DPS   0x01
#define GFS_500DPS    0x02
#define GFS_250DPS    0x03
#define GFS_125DPS    0x04
#define GFS_62_50DPS  0x05
#define GFS_31_25DPS  0x06
#define GFS_15_625DPS 0x07

// Low Noise mode
#define AODR_32kHz    0x01   
#define AODR_16kHz    0x02
#define AODR_8kHz     0x03
#define AODR_4kHz     0x04
#define AODR_2kHz     0x05
#define AODR_1kHz     0x06  // default
//Low Noise or Low Power modes
#define AODR_500Hz    0x0F
#define AODR_200Hz    0x07
#define AODR_100Hz    0x08
#define AODR_50Hz     0x09
#define AODR_25Hz     0x0A
#define AODR_12_5Hz   0x0B
// Low Power mode
#define AODR_6_25Hz   0x0C  
#define AODR_3_125Hz  0x0D
#define AODR_1_5625Hz 0x0E

#define GODR_32kHz  0x01   
#define GODR_16kHz  0x02
#define GODR_8kHz   0x03
#define GODR_4kHz   0x04
#define GODR_2kHz   0x05
#define GODR_1kHz   0x06 // default
#define GODR_500Hz  0x0F
#define GODR_200Hz  0x07
#define GODR_100Hz  0x08
#define GODR_50Hz   0x09
#define GODR_25Hz   0x0A
#define GODR_12_5Hz 0x0B

#define aMode_OFF 0x01
#define aMode_LP  0x02
#define aMode_LN  0x03

#define gMode_OFF 0x00
#define gMode_SBY 0x01
#define gMode_LN  0x03

float icm_getAres(uint8_t Ascale);
float icm_getGres(uint8_t Gscale);
uint8_t icm_getChipID(struct i2c_dt_spec dev_i2c);
void icm_init(struct i2c_dt_spec dev_i2c, uint8_t Ascale, uint8_t Gscale, uint8_t AODR, uint8_t GODR, uint8_t aMode, uint8_t gMode, bool CLKIN);
void icm_accel_read(struct i2c_dt_spec dev_i2c, float a[3]);
void icm_gyro_read(struct i2c_dt_spec dev_i2c, float g[3]);
void icm_offsetBias(struct i2c_dt_spec dev_i2c, float * dest1, float * dest2);
void icm_reset(struct i2c_dt_spec dev_i2c);
void icm_setup_WOM(struct i2c_dt_spec dev_i2c);

#endif
```

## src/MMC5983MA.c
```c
/* 09/23/2017 Copyright Tlera Corporation

    Created by Kris Winer

  This sketch uses SDA/SCL on pins 21/20 (Ladybug default), respectively, and it uses the Ladybug STM32L432 Breakout Board.
  The MMC5983MA is a low power magnetometer, here used as 3 DoF in a 9 DoF absolute orientation solution.

  Library may be used freely and without limit with attribution.

*/
#include <math.h>
#include <stdio.h>
#include <stdlib.h>

#include <zephyr/types.h>
#include <zephyr/drivers/i2c.h>
#include "MMC5983MA.h"

uint8_t mmc_getChipID(struct i2c_dt_spec dev_i2c)
{
    uint8_t c;
    i2c_reg_read_byte_dt(&dev_i2c, MMC5983MA_PRODUCT_ID, &c);
    return c;
}

void mmc_reset(struct i2c_dt_spec dev_i2c)
{
    // reset device
    i2c_reg_write_byte_dt(&dev_i2c, MMC5983MA_CONTROL_1, 0x80); // Set bit 7 to 1 to reset MMC5983MA
    k_msleep(11); // Wait 10 ms for all registers to reset 
}

void mmc_init(struct i2c_dt_spec dev_i2c, uint8_t MODR, uint8_t MBW, uint8_t MSET)
{
    // enable auto set/reset (bit 5 == 1)
    i2c_reg_write_byte_dt(&dev_i2c, MMC5983MA_CONTROL_0, 0x20);

    // set magnetometer bandwidth
    i2c_reg_write_byte_dt(&dev_i2c, MMC5983MA_CONTROL_1, MBW);

    // enable continuous measurement mode (bit 3 == 1), set sample rate
    // enable automatic Set/Reset (bit 8 == 1), set set/reset rate
    i2c_reg_write_byte_dt(&dev_i2c, MMC5983MA_CONTROL_2, 0x80 | (MSET << 4) | 0x08 | MODR);
}

void mmc_SET(struct i2c_dt_spec dev_i2c)
{
    i2c_reg_write_byte_dt(&dev_i2c, MMC5983MA_CONTROL_0, 0x08);
    k_busy_wait(1); // self clearing after 500 ns
}

void mmc_RESET(struct i2c_dt_spec dev_i2c)
{
    i2c_reg_write_byte_dt(&dev_i2c, MMC5983MA_CONTROL_0, 0x10);
    k_busy_wait(1); // self clearing after 500 ns
}

uint8_t mmc_status(struct i2c_dt_spec dev_i2c)
{
    // Read status register
    uint8_t temp;
    i2c_reg_read_byte_dt(&dev_i2c, MMC5983MA_STATUS, &temp);
    return temp;
}

void mmc_clearInt(struct i2c_dt_spec dev_i2c)   
{
    // Clear data ready interrupts
    i2c_reg_write_byte_dt(&dev_i2c, MMC5983MA_STATUS, 0x01);
}

void mmc_readData(struct i2c_dt_spec dev_i2c, uint32_t * destination)
{
    uint8_t rawData[7]; // x/y/z mag register data stored here
    i2c_burst_read_dt(&dev_i2c, MMC5983MA_XOUT_0, &rawData[0], 7); // Read the 7 raw data registers into data array
    destination[0] = (uint32_t)(rawData[0] << 10 | rawData[1] << 2 | (rawData[6] & 0xC0) >> 6); // Turn the 18 bits into a unsigned 32-bit value
    destination[1] = (uint32_t)(rawData[2] << 10 | rawData[3] << 2 | (rawData[6] & 0x30) >> 4); // Turn the 18 bits into a unsigned 32-bit value
    destination[2] = (uint32_t)(rawData[4] << 10 | rawData[5] << 2 | (rawData[6] & 0x0C) >> 2); // Turn the 18 bits into a unsigned 32-bit value
}

uint8_t mmc_readTemperature(struct i2c_dt_spec dev_i2c)
{
    uint8_t temp;
    i2c_reg_read_byte_dt(&dev_i2c, MMC5983MA_CONTROL_0, &temp); // preserve register contents
    i2c_reg_write_byte_dt(&dev_i2c, MMC5983MA_CONTROL_0, temp | 0x02); //enable one-time temp measurement
    k_busy_wait(1000 * 10);
    i2c_reg_read_byte_dt(&dev_i2c, MMC5983MA_TOUT, &temp); // Read the raw temperature register
    return temp;
}

void mmc_powerDown(struct i2c_dt_spec dev_i2c)
{
    i2c_reg_update_byte_dt(&dev_i2c, MMC5983MA_CONTROL_2, 0x07, 0); // clear lowest four bits
    k_msleep(20); // make sure to finish the last measurement
}

void mmc_powerUp(struct i2c_dt_spec dev_i2c, uint8_t MODR)
{
    i2c_reg_update_byte_dt(&dev_i2c, MMC5983MA_CONTROL_2, MODR, MODR); // start continuous mode
}
```

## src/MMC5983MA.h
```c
/* 06/14/2020 Copyright Tlera Corporation

    Created by Kris Winer

  This sketch uses SDA/SCL on pins 21/20 (Ladybug default), respectively, and it uses the Ladybug STM32L432 Breakout Board.
  The MMC5983MA is a low power magnetometer, here used as 3 DoF in a 9 DoF absolute orientation solution.

  Library may be used freely and without limit with attribution.

*/

#ifndef MMC5983MA_h
#define MMC5983MA_h

#include <zephyr/types.h>
#include <zephyr/drivers/i2c.h>

//Register map for MMC5983MA'
//http://www.memsic.com/userfiles/files/DataSheets/Magnetic-Sensors-Datasheets/MMC5983MA_Datasheet.pdf
#define MMC5983MA_XOUT_0        0x00
#define MMC5983MA_XOUT_1        0x01
#define MMC5983MA_YOUT_0        0x02
#define MMC5983MA_YOUT_1        0x03
#define MMC5983MA_ZOUT_0        0x04
#define MMC5983MA_ZOUT_1        0x05
#define MMC5983MA_XYZOUT_2      0x06
#define MMC5983MA_TOUT          0x07
#define MMC5983MA_STATUS        0x08
#define MMC5983MA_CONTROL_0     0x09
#define MMC5983MA_CONTROL_1     0x0A
#define MMC5983MA_CONTROL_2     0x0B
#define MMC5983MA_CONTROL_3     0x0C
#define MMC5983MA_PRODUCT_ID    0x2F

#define MMC5983MA_ADDRESS       0x30

// Sample rates
#define MODR_ONESHOT   0x00
#define MODR_1Hz       0x01
#define MODR_10Hz      0x02
#define MODR_20Hz      0x03
#define MODR_50Hz      0x04
#define MODR_100Hz     0x05
#define MODR_200Hz     0x06 // BW = 0x01 only
#define MODR_1000Hz    0x07 // BW = 0x11 only

//Bandwidths
#define MBW_100Hz 0x00  // 8 ms measurement time
#define MBW_200Hz 0x01  // 4 ms
#define MBW_400Hz 0x02  // 2 ms
#define MBW_800Hz 0x03  // 0.5 ms

// Set/Reset as a function of measurements
#define MSET_1     0x00 // Set/Reset each data measurement
#define MSET_25    0x01 // each 25 data measurements
#define MSET_75    0x02
#define MSET_100   0x03
#define MSET_250   0x04
#define MSET_500   0x05
#define MSET_1000  0x06
#define MSET_2000  0x07

#define MMC5983MA_mRes (1.0f / 16384.0f) // mag sensitivity if using 18 bit data
#define MMC5983MA_offset 131072.0f // mag range unsigned to signed

uint8_t mmc_getChipID(struct i2c_dt_spec dev_i2c);
void mmc_init(struct i2c_dt_spec dev_i2c, uint8_t MODR, uint8_t MBW, uint8_t MSET);
void mmc_reset(struct i2c_dt_spec dev_i2c);
uint8_t mmc_status(struct i2c_dt_spec dev_i2c);
void mmc_clearInt(struct i2c_dt_spec dev_i2c);
void mmc_selfTest(struct i2c_dt_spec dev_i2c);
void mmc_readData(struct i2c_dt_spec dev_i2c, uint32_t * destination);
void mmc_SET(struct i2c_dt_spec dev_i2c);
void mmc_RESET(struct i2c_dt_spec dev_i2c);
void mmc_powerDown(struct i2c_dt_spec dev_i2c);
void mmc_powerUp(struct i2c_dt_spec dev_i2c, uint8_t MODR);
void mmc_mag_read(struct i2c_dt_spec mag, float m[3]);

#endif
```

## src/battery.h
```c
/*
 * Copyright (c) 2018-2019 Peter Bigot Consulting, LLC
 *
 * SPDX-License-Identifier: Apache-2.0
 */

#ifndef APPLICATION_BATTERY_H_
#define APPLICATION_BATTERY_H_

/** Enable or disable measurement of the battery voltage.
 *
 * @param enable true to enable, false to disable
 *
 * @return zero on success, or a negative error code.
 */
int battery_measure_enable(bool enable);

/** Measure the battery voltage.
 *
 * @return the battery voltage in millivolts, or a negative error
 * code.
 */
int battery_sample(void);

/** A point in a battery discharge curve sequence.
 *
 * A discharge curve is defined as a sequence of these points, where
 * the first point has #lvl_pptt set to 10000 and the last point has
 * #lvl_pptt set to zero.  Both #lvl_pptt and #lvl_mV should be
 * monotonic decreasing within the sequence.
 */
struct battery_level_point {
	/** Remaining life at #lvl_mV. */
	uint16_t lvl_pptt;

	/** Battery voltage at #lvl_pptt remaining life. */
	uint16_t lvl_mV;
};

/** Calculate the estimated battery level based on a measured voltage.
 *
 * @param batt_mV a measured battery voltage level.
 *
 * @param curve the discharge curve for the type of battery installed
 * on the system.
 *
 * @return the estimated remaining capacity in parts per ten
 * thousand.
 */
unsigned int battery_level_pptt(unsigned int batt_mV,
				const struct battery_level_point *curve);

unsigned int read_batt(void);

unsigned int read_batt_mV(int *batt_mV);

#endif /* APPLICATION_BATTERY_H_ */
```

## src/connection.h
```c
#ifndef SLIMENRF_CONNECTION
#define SLIMENRF_CONNECTION

uint8_t connection_get_id(void);
void connection_set_id(uint8_t id);

void connection_update_sensor_ids(int imu_id, int mag_id);
void connection_update_sensor_data(float *q, float *a);
void connection_update_sensor_temp(float temp);
void connection_update_battery(bool battery_available, bool plugged, uint32_t battery_pptt, int battery_mV);
void connection_update_status(int status);

void connection_write_packet_0();
void connection_write_packet_1();
void connection_write_packet_2();
void connection_write_packet_3();

#endif
```

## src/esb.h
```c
#ifndef SLIMENRF_ESB
#define SLIMENRF_ESB

#include <esb.h>
#include <nrfx_timer.h>

// TODO: timer?
#define LAST_RESET_LIMIT 10
extern uint8_t last_reset;
// TODO: move to esb/timer
extern const nrfx_timer_t m_timer;
extern bool esb_state;
extern bool timer_state;
extern bool send_data;
// TODO: esb/sensor?
extern uint16_t led_clock;
extern uint32_t led_clock_offset;

void event_handler(struct esb_evt const *event);
int clocks_start(void);
int esb_initialize(bool);
void esb_deinitialize(void);

void esb_set_addr_discovery(void);
void esb_set_addr_paired(void);

void esb_pair(void);
void esb_reset_pair(void);

void esb_write(uint8_t *data); // TODO: give packets some names

bool esb_ready(void);

#endif
```
